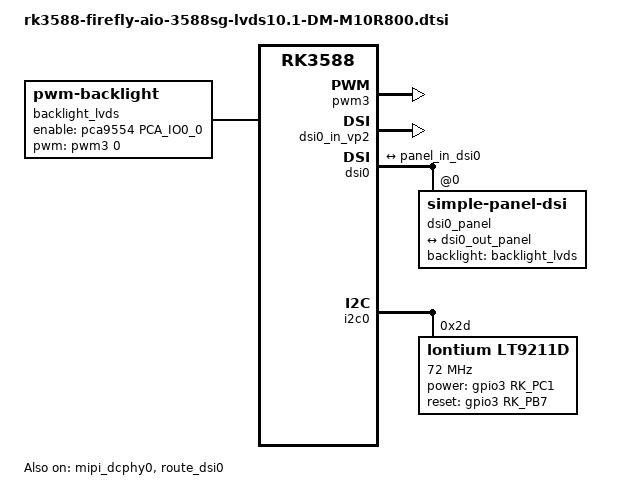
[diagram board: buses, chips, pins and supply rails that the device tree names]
// SPDX-License-Identifier: (GPL-2.0+ OR MIT)
/*
 * Copyright (c) 2023 Rockchip Electronics Co., Ltd.
 *
 */

#include <dt-bindings/display/drm_mipi_dsi.h>

/ {
	backlight_lvds: backlight-1 {
		status = "okay";
		compatible = "pwm-backlight";
		enable-gpios = <&pca9554 PCA_IO0_0 GPIO_ACTIVE_HIGH>;
		pwms = <&pwm3 0 50000 1>;
		brightness-levels = <
			 60  60  60  61  61  61  62  62
			 62  63  63  63  64  64  64  65
			 65  65  66  66  66  67  67  67
			 68  68  68  69  69  69  70  70
			 70  71  71  71  72  72  72  73
			 73  73  74  74  74  75  75  75
			 76  76  76  77  77  77  78  78
			 78  79  79  79  80  80  80  81
			 81  81  82  82  82  83  83  83
			 84  84  84  85  85  85  86  86
			 86  87  87  87  88  88  88  89
			 89  89  90  91  92  93  94  95
			 96  97  98  99 100 101 102 103
			104 105 106 107 108 109 110 111
			112 113 114 115 116 117 118 119
			120 121 122 123 124 125 126 127
			128 129 130 131 132 133 134 135
			136 137 138 139 140 141 142 143
			144 145 146 147 148 149 150 151
			152 153 154 155 156 157 158 159
			160 161 162 163 164 165 166 167
			168 169 170 171 172 173 174 175
			176 177 178 179 180 181 182 183
			184 185 186 187 188 189 190 191
			192 193 194 195 196 197 198 199
			200 201 202 203 204 205 206 207
			208 209 210 211 212 213 214 215
			216 217 218 219 220 221 222 223
			224 225 226 227 228 229 230 231
			232 233 234 235 236 237 238 239
			240 241 242 243 244 245 246 247
			248 249 250 251 252 253 254 255 >;
		default-brightness-level = <200>;
	};
};

&pwm3 {
	pinctrl-0 = <&pwm3m1_pins>;
	status = "okay";
};

/*
 * mipi_dcphy0 needs to be enabled
 * when dsi0 is enabled
 */
&mipi_dcphy0 {
	status = "okay";
};

&dsi0_in_vp2 {
	status = "okay";
};

&dsi0_in_vp3 {
	status = "disabled";
};

&route_dsi0 {
	status = "okay";
	connect = <&vp2_out_dsi0>;
};

&dsi0 {
	status = "okay";

	dsi0_panel: panel0@0 {
		status = "okay";
		compatible = "simple-panel-dsi";
		reg = <0>;
		backlight = <&backlight_lvds>;

		dsi,flags = <(MIPI_DSI_MODE_VIDEO | MIPI_DSI_MODE_VIDEO_BURST | MIPI_DSI_MODE_LPM | MIPI_DSI_MODE_NO_EOT_PACKET)>;
		dsi,format = <MIPI_DSI_FMT_RGB888>;
		dsi,lanes = <4>;

		disp_timings: display-timings {
			native-mode = <&dsi_timing>;
			dsi_timing: timing {
				clock-frequency = <72000000>;
				hactive = <800>;
				vactive = <1280>;
				hsync-len = <10>;
				hback-porch = <50>;
				hfront-porch = <50>;
				vsync-len = <18>;
				vback-porch = <10>;
				vfront-porch = <10>;
				hsync-active = <0>;
				vsync-active = <0>;
				de-active = <0>;
				pixelclk-active = <0>;
			};
		};

		ports {
			#address-cells = <1>;
			#size-cells = <0>;

			port@0 {
				reg = <0>;
				panel_in_dsi0: endpoint {
					remote-endpoint = <&dsi0_out_panel>;
				};
			};
		};
	};

	ports {
		#address-cells = <1>;
		#size-cells = <0>;

		port@1 {
			reg = <1>;
			dsi0_out_panel: endpoint {
			remote-endpoint = <&panel_in_dsi0>;
			};
		};
	};
};

&i2c0 {
	status = "okay";
	pinctrl-names = "default";
	pinctrl-0 = <&i2c0m2_xfer>;

	lt9211d: lt9211d@2d {
		status = "okay";
		compatible = "lontium,lt9211d";
		reg = <0x2d>;

		power-gpio = <&gpio3 RK_PC1 GPIO_ACTIVE_HIGH>;
		reset-gpio = <&gpio3 RK_PB7 GPIO_ACTIVE_HIGH>;

		mod = "mipi_in_lvds_out";  //pattern_out/mipi_in_lvds_out
		lvdstx_port_swap = "disabled"; //enabled/disabled
		lvdstx_port_sel = "porta"; // porta/portb/dou_port

		clock-frequency = <72000000>;
		hactive = <800>;
		vactive = <1280>;
		hfront-porch = <50>;
		hsync-len = <10>;
		hback-porch = <50>;
		vfront-porch = <10>;
		vsync-len = <18>;
		vback-porch = <10>;
		frameRate = <60>;
	};

};
